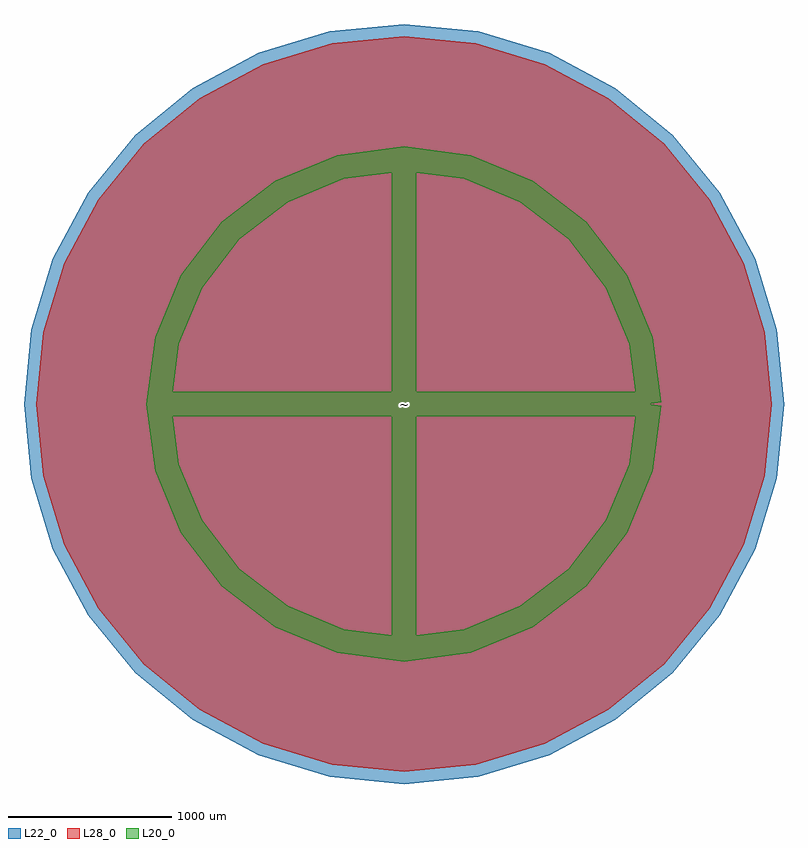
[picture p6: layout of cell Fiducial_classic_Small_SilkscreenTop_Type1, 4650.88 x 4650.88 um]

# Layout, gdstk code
import gdstk
lib = gdstk.Library(unit=1e-6, precision=1e-09)
def P(c, l, *ps):  # polygons
    for p in ps: c.add(gdstk.Polygon(p, *l))
L20_0 = (20, 0)
L22_0 = (22, 0)
L28_0 = (28, 0)

fiducial_classic_small_s = lib.new_cell('Fiducial_classic_Small_SilkscreenTop_Type1')
P(fiducial_classic_small_s, L22_0, [(2325.44,0),(2280.757,453.671),(2148.426,889.907),(1933.533,1291.945),(1644.334,1644.334),(1291.945,1933.533),(889.907,2148.426),(453.671,2280.757),(0,2325.44),(-453.671,2280.757),(-889.907,2148.426),(-1291.945,1933.533),(-1644.334,1644.334),(-1933.533,1291.945),(-2148.426,889.907),(-2280.757,453.671),(-2325.44,0),(-2280.757,-453.671),(-2148.426,-889.907),(-1933.533,-1291.945),(-1644.334,-1644.334),(-1291.945,-1933.533),(-889.907,-2148.426),(-453.671,-2280.757),(0,-2325.44),(453.671,-2280.757),(889.907,-2148.426),(1291.945,-1933.533),(1644.334,-1644.334),(1933.533,-1291.945),(2148.426,-889.907),(2280.757,-453.671)])
P(fiducial_classic_small_s, L28_0, [(2250.44,0),(2207.198,439.039),(2079.135,861.206),(1871.172,1250.277),(1591.301,1591.301),(1250.277,1871.172),(861.206,2079.135),(439.039,2207.198),(0,2250.44),(-439.039,2207.198),(-861.206,2079.135),(-1250.277,1871.172),(-1591.301,1591.301),(-1871.172,1250.277),(-2079.135,861.206),(-2207.198,439.039),(-2250.44,0),(-2207.198,-439.039),(-2079.135,-861.206),(-1871.172,-1250.277),(-1591.301,-1591.301),(-1250.277,-1871.172),(-861.206,-2079.135),(-439.039,-2207.198),(0,-2250.44),(439.039,-2207.198),(861.206,-2079.135),(1250.277,-1871.172),(1591.301,-1591.301),(1871.172,-1250.277),(2079.135,-861.206),(2207.198,-439.039)])
fiducial_classic_small_s.add(gdstk.FlexPath([(1501.14,0),(1449.99,388.524),(1300.025,750.57),(1061.466,1061.466),(750.57,1300.025),(388.524,1449.99),(0,1501.14),(-388.524,1449.99),(-750.57,1300.025),(-1061.466,1061.466),(-1300.025,750.57),(-1449.99,388.524),(-1501.14,0),(-1449.99,-388.524),(-1300.025,-750.57),(-1061.466,-1061.466),(-750.57,-1300.025),(-388.524,-1449.99),(0,-1501.14),(388.524,-1449.99),(750.57,-1300.025),(1061.466,-1061.466),(1300.025,-750.57),(1449.99,-388.524),(1501.14,0)], 149.998, ends="flush", simple_path=True, layer=20, datatype=0))  # L20_0
fiducial_classic_small_s.add(gdstk.FlexPath([(0,1501.14),(0,-1501.14)], 149.998, ends="flush", simple_path=True, layer=20, datatype=0))  # L20_0
fiducial_classic_small_s.add(gdstk.FlexPath([(-1501.14,0),(1501.14,0)], 149.998, ends="flush", simple_path=True, layer=20, datatype=0))  # L20_0
fiducial_classic_small_s.add(gdstk.Label('~', (0,0), layer=28, texttype=0))
fiducial_classic_small_s.add(gdstk.Label('type', (340.36,-3479.8), layer=9, texttype=0))
fiducial_classic_small_s.add(gdstk.Label('devicename', (0,3556), layer=9, texttype=0))

lib.write_gds('Fiducial_classic_Small_SilkscreenTop_Type1.gds')
